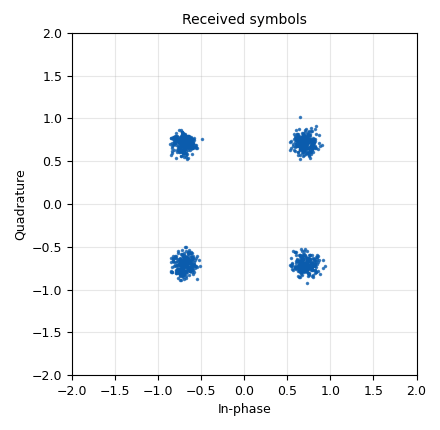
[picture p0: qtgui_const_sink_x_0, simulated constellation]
options:
  parameters:
    author: ECE 448
    description: 'L3: random QPSK symbols through noise onto a constellation sink. Drag the SNR down and watch the clouds grow.'
    generate_options: qt_gui
    id: L03_noise_constellation
    output_language: python
    title: L3 - Noise on a Constellation
  states: {}

blocks:
- name: phase_deg
  id: variable_qtgui_range
  parameters:
    gui_hint: 0,1,1,1
    label: Phase offset (deg)
    start: '0'
    step: '1'
    stop: '90'
    value: '0'
  states: {}
- name: samp_rate
  id: variable
  parameters:
    value: '32000'
  states: {}
- name: snr_db
  id: variable_qtgui_range
  parameters:
    gui_hint: 0,0,1,1
    label: SNR (dB)
    start: '0'
    step: '0.5'
    stop: '30'
    value: '20'
  states: {}
- name: analog_random_source_x_0
  id: analog_random_source_x
  parameters:
    max: '4'
    min: '0'
    num_samps: '10000'
    repeat: 'True'
    type: byte
  states: {}
- name: blocks_multiply_const_vxx_0
  id: blocks_multiply_const_vxx
  parameters:
    const: numpy.exp(1j*numpy.radians(phase_deg))
    type: complex
  states: {}
- name: blocks_throttle2_0
  id: blocks_throttle2
  parameters:
    samples_per_second: samp_rate
    type: complex
  states: {}
- name: channels_channel_model_0
  id: channels_channel_model
  parameters:
    epsilon: '1.0'
    freq_offset: '0'
    noise_voltage: 10**(-snr_db/20)
    seed: '0'
    taps: '1.0'
  states: {}
- name: digital_chunks_to_symbols_xx_0
  id: digital_chunks_to_symbols_xx
  parameters:
    dimension: '1'
    in_type: byte
    out_type: complex
    symbol_table: '[(1+1j)/1.4142, (-1+1j)/1.4142, (1-1j)/1.4142, (-1-1j)/1.4142]'
  states: {}
- name: import_0
  id: import
  parameters:
    imports: import numpy
  states: {}
- name: qtgui_const_sink_x_0
  id: qtgui_const_sink_x
  parameters:
    gui_hint: 1,0,1,2
    name: '"Received symbols"'
    size: '1024'
    type: complex
  states: {}

connections:
- [analog_random_source_x_0, '0', digital_chunks_to_symbols_xx_0, '0']
- [blocks_multiply_const_vxx_0, '0', channels_channel_model_0, '0']
- [blocks_throttle2_0, '0', blocks_multiply_const_vxx_0, '0']
- [channels_channel_model_0, '0', qtgui_const_sink_x_0, '0']
- [digital_chunks_to_symbols_xx_0, '0', blocks_throttle2_0, '0']

metadata:
  file_format: 1
  grc_version: 3.10.9.2
